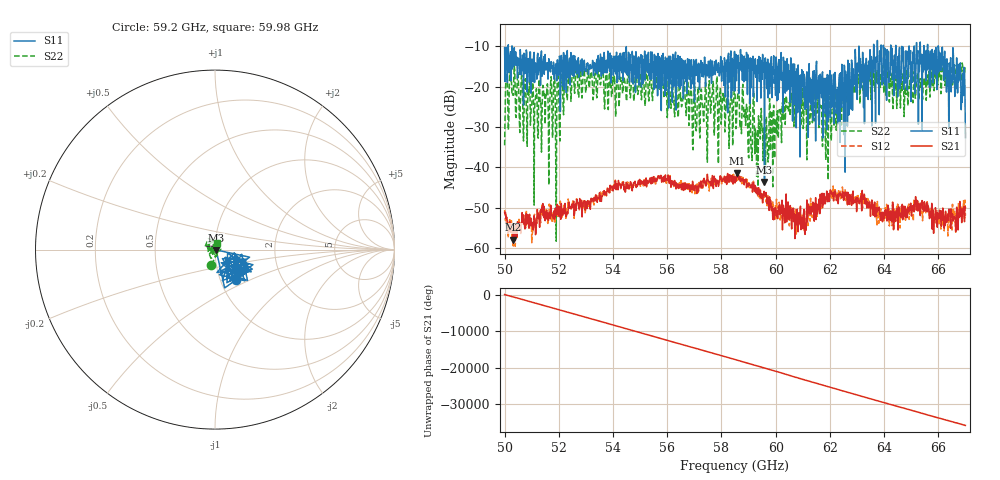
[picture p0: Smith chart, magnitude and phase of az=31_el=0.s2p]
!Created with skrf (http://scikit-rf.org).
# GHz S RI R 50.0
!freq ReS11 ImS11 ReS21 ImS21 ReS12 ImS12 ReS22 ImS22
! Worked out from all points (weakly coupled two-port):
!   1001 points, 50 GHz to 67 GHz, reference 50 ohm
!   highest |S21| = -41.43 dB at 58.59 GHz (marker M1); lowest = -58.0 dB at 50.32 GHz (marker M2)
!   lowest |S11| = -43.6 dB at 59.59 GHz (marker M3), VSWR 1.01, Z = 50.6 - j0.187 ohm
!   |S11| at or under -10 dB: 50.27 GHz to 63.07 GHz (12.8 GHz wide, 22.6 % of centre); 63.07 GHz to 63.62 GHz (542.8 MHz wide, 0.857 % of centre); 66 GHz to end of sweep (the widest 3 of 17)
!   |S22| runs from -58.3 to -14.0 dB; largest |S21 - S12| = 0.0025
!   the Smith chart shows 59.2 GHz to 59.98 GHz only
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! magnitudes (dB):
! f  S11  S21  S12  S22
! 50 GHz  -10.3  -51.2  -50.6  -34.6
! 50.12 GHz  -11.5  -55.2  -53.4  -25.2
! 50.32 GHz  -14.9  -58.0  -59.5  -22.1
! 51.16 GHz  -14.4  -56.4  -55.0  -21.6
! 51.77 GHz  -14.9  -51.9  -51.3  -32.7
! 51.84 GHz  -18.3  -52.8  -53.9  -17.0
! 52.16 GHz  -13.5  -50.6  -52.2  -25.1
! 52.84 GHz  -14.4  -48.2  -48.7  -21.6
! 55.68 GHz  -13.7  -42.1  -41.9  -19.8
! 56.82 GHz  -18.2  -45.0  -45.6  -27.4
! 57 GHz  -23.8  -45.8  -45.0  -19.1
! 57.62 GHz  -15.3  -43.7  -43.7  -25.4
! 58.5 GHz  -21.1  -43.9  -42.2  -22.0
! 58.59 GHz  -15.4  -41.4  -43.2  -23.9
! 59.59 GHz  -43.6  -46.9  -47.5  -33.4
! 60.64 GHz  -14.4  -50.1  -52.8  -22.2
! 61.34 GHz  -26.1  -51.1  -52.1  -25.9
! 62.19 GHz  -16.5  -45.8  -45.6  -21.6
! 64.18 GHz  -19.0  -53.1  -50.6  -19.4
! 66.08 GHz  -15.9  -50.8  -52.0  -16.1
! 66.9 GHz  -16.7  -51.5  -52.6  -14.9
! 67 GHz  -32.7  -50.0  -52.0  -14.8
